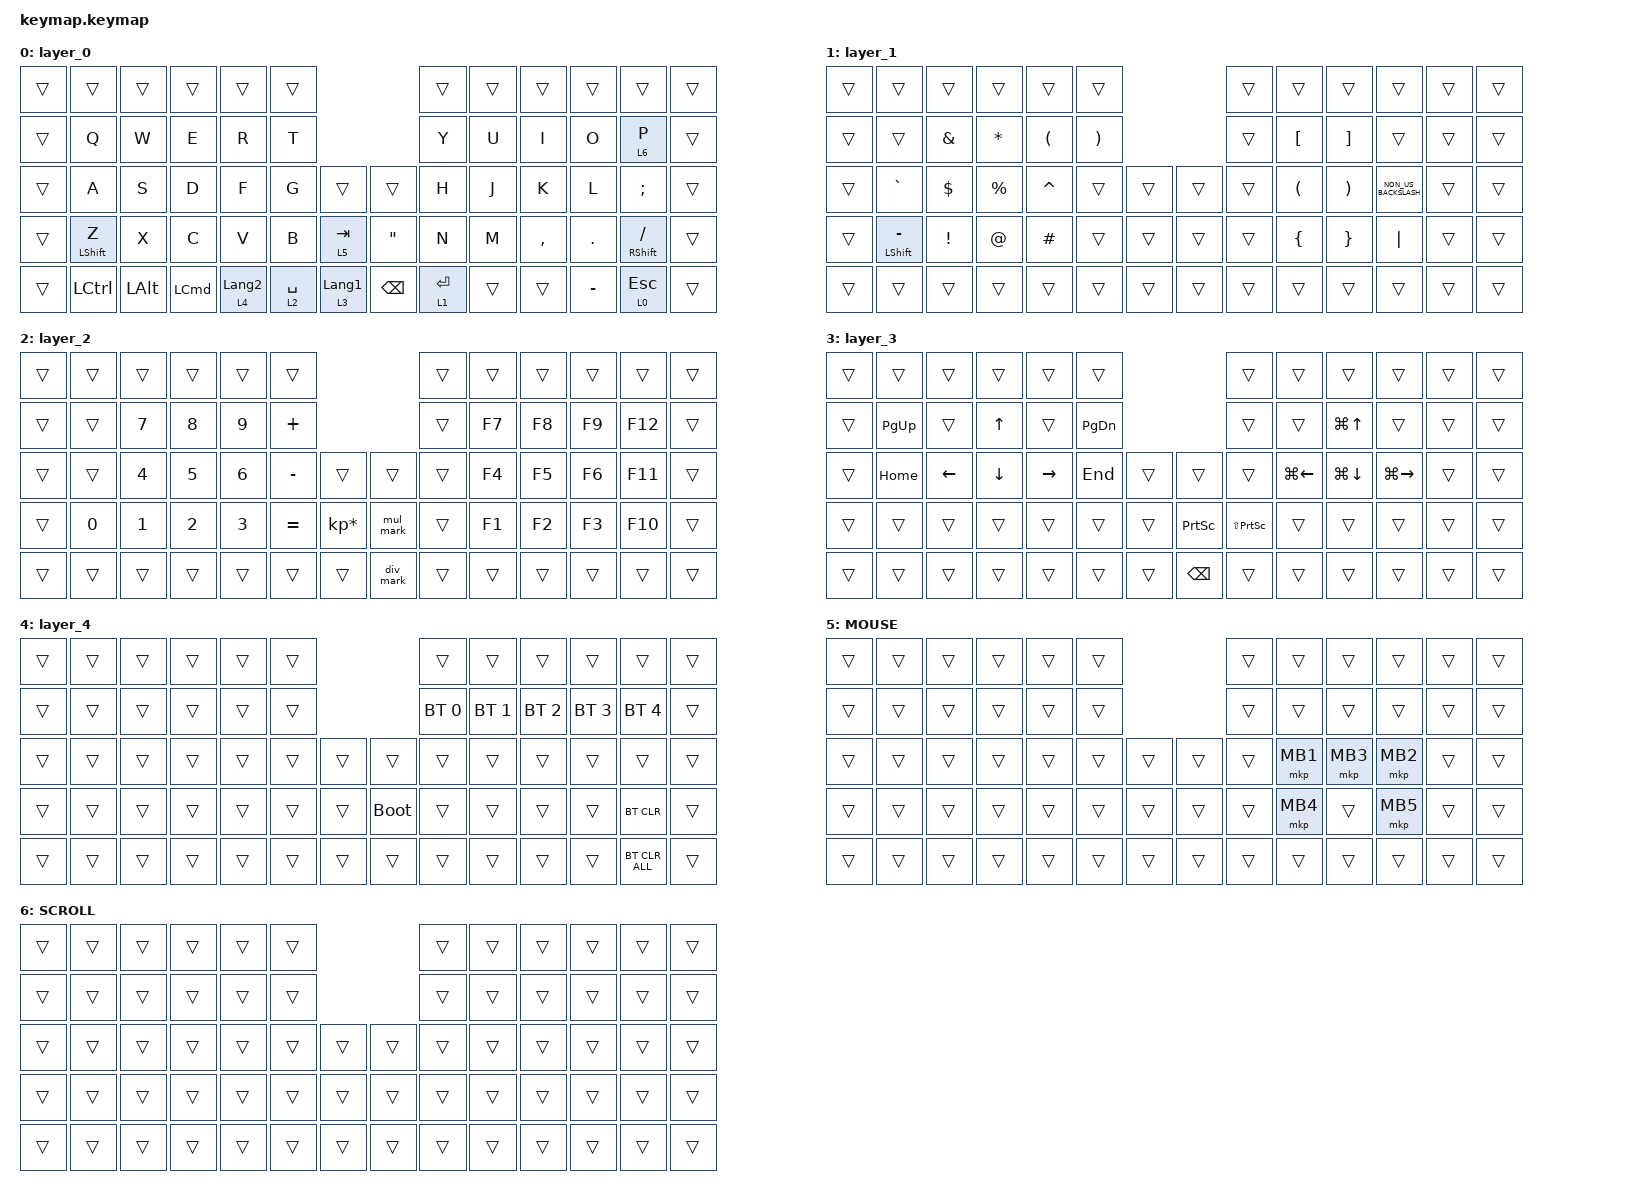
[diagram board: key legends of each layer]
#include <behaviors.dtsi>
#include <dt-bindings/zmk/bt.h>
#include <dt-bindings/zmk/keys.h>
#include <dt-bindings/zmk/pointing.h>

/ {
    combos { compatible = "zmk,combos"; };

    macros {
        mul_mark: new_macro {
            compatible = "zmk,behavior-macro";
            #binding-cells = <0>;
            bindings = <&macro_press>, <&kp X &kp X &kp R>;

            label = "NEW_MACRO";
        };

        div_mark: div_mark {
            compatible = "zmk,behavior-macro";
            #binding-cells = <0>;
            bindings = <&macro_press>, <&kp W &kp W &kp R>;

            label = "DIV_MARK";
        };
    };

    keymap {
        compatible = "zmk,keymap";

        layer_0 {
            bindings = <
&trans  &trans            &trans        &trans            &trans            &trans                                            &trans       &trans  &trans     &trans     &trans                &trans
&trans  &kp Q             &kp W         &kp E             &kp R             &kp T                                             &kp Y        &kp U   &kp I      &kp O      &lt 6 P               &trans
&trans  &kp A             &kp S         &kp D             &kp F             &kp G        &trans            &trans             &kp H        &kp J   &kp K      &kp L      &kp SEMI              &trans
&trans  &mt LEFT_SHIFT Z  &kp X         &kp C             &kp V             &kp B        &lt 5 TAB         &kp DOUBLE_QUOTES  &kp N        &kp M   &kp COMMA  &kp DOT    &mt RIGHT_SHIFT FSLH  &trans
&trans  &kp LEFT_CONTROL  &kp LEFT_ALT  &kp LEFT_COMMAND  &lt 4 LANGUAGE_2  &lt 2 SPACE  &lt 3 LANGUAGE_1  &kp BACKSPACE      &lt 1 ENTER  &trans  &trans     &kp MINUS  &lt 0 ESC             &trans
            >;
        };

        layer_1 {
            bindings = <
&trans  &trans                &trans           &trans        &trans                &trans                                 &trans  &trans                &trans                 &trans                &trans  &trans
&trans  &trans                &kp AMPERSAND    &kp ASTERISK  &kp LEFT_PARENTHESIS  &kp RIGHT_PARENTHESIS                  &trans  &kp LEFT_BRACKET      &kp RIGHT_BRACKET      &trans                &trans  &trans
&trans  &kp GRAVE             &kp DOLLAR       &kp PERCENT   &kp CARET             &trans                 &trans  &trans  &trans  &kp LEFT_PARENTHESIS  &kp RIGHT_PARENTHESIS  &kp NON_US_BACKSLASH  &trans  &trans
&trans  &mt LEFT_SHIFT MINUS  &kp EXCLAMATION  &kp AT_SIGN   &kp HASH              &trans                 &trans  &trans  &trans  &kp LEFT_BRACE        &kp RIGHT_BRACE        &kp PIPE              &trans  &trans
&trans  &trans                &trans           &trans        &trans                &trans                 &trans  &trans  &trans  &trans                &trans                 &trans                &trans  &trans
            >;
        };

        layer_2 {
            bindings = <
&trans  &trans        &trans        &trans        &trans        &trans                                 &trans  &trans  &trans  &trans  &trans   &trans
&trans  &trans        &kp NUMBER_7  &kp NUMBER_8  &kp NUMBER_9  &kp PLUS                               &trans  &kp F7  &kp F8  &kp F9  &kp F12  &trans
&trans  &trans        &kp NUMBER_4  &kp NUMBER_5  &kp NUMBER_6  &kp MINUS  &trans           &trans     &trans  &kp F4  &kp F5  &kp F6  &kp F11  &trans
&trans  &kp NUMBER_0  &kp NUMBER_1  &kp NUMBER_2  &kp NUMBER_3  &kp EQUAL  &kp KP_MULTIPLY  &mul_mark  &trans  &kp F1  &kp F2  &kp F3  &kp F10  &trans
&trans  &trans        &trans        &trans        &trans        &trans     &trans           &div_mark  &trans  &trans  &trans  &trans  &trans   &trans
            >;
        };

        layer_3 {
            bindings = <
&trans  &trans       &trans    &trans        &trans     &trans                                  &trans               &trans        &trans            &trans         &trans  &trans
&trans  &kp PAGE_UP  &trans    &kp UP_ARROW  &trans     &kp PAGE_DOWN                           &trans               &trans        &kp LG(UP_ARROW)  &trans         &trans  &trans
&trans  &kp HOME     &kp LEFT  &kp DOWN      &kp RIGHT  &kp END        &trans  &trans           &trans               &kp LG(LEFT)  &kp LG(DOWN)      &kp LG(RIGHT)  &trans  &trans
&trans  &trans       &trans    &trans        &trans     &trans         &trans  &kp PRINTSCREEN  &kp LS(PRINTSCREEN)  &trans        &trans            &trans         &trans  &trans
&trans  &trans       &trans    &trans        &trans     &trans         &trans  &kp BACKSPACE    &trans               &trans        &trans            &trans         &trans  &trans
            >;
        };

        layer_4 {
            bindings = <
&trans  &trans  &trans  &trans  &trans  &trans                       &trans        &trans        &trans        &trans        &trans          &trans
&trans  &trans  &trans  &trans  &trans  &trans                       &bt BT_SEL 0  &bt BT_SEL 1  &bt BT_SEL 2  &bt BT_SEL 3  &bt BT_SEL 4    &trans
&trans  &trans  &trans  &trans  &trans  &trans  &trans  &trans       &trans        &trans        &trans        &trans        &trans          &trans
&trans  &trans  &trans  &trans  &trans  &trans  &trans  &bootloader  &trans        &trans        &trans        &trans        &bt BT_CLR      &trans
&trans  &trans  &trans  &trans  &trans  &trans  &trans  &trans       &trans        &trans        &trans        &trans        &bt BT_CLR_ALL  &trans
            >;
        };

        MOUSE {
            bindings = <
&trans  &trans  &trans  &trans  &trans  &trans                  &trans  &trans    &trans    &trans    &trans  &trans
&trans  &trans  &trans  &trans  &trans  &trans                  &trans  &trans    &trans    &trans    &trans  &trans
&trans  &trans  &trans  &trans  &trans  &trans  &trans  &trans  &trans  &mkp MB1  &mkp MB3  &mkp MB2  &trans  &trans
&trans  &trans  &trans  &trans  &trans  &trans  &trans  &trans  &trans  &mkp MB4  &trans    &mkp MB5  &trans  &trans
&trans  &trans  &trans  &trans  &trans  &trans  &trans  &trans  &trans  &trans    &trans    &trans    &trans  &trans
            >;
        };

        SCROLL {
            bindings = <
&trans  &trans  &trans  &trans  &trans  &trans                  &trans  &trans  &trans  &trans  &trans  &trans
&trans  &trans  &trans  &trans  &trans  &trans                  &trans  &trans  &trans  &trans  &trans  &trans
&trans  &trans  &trans  &trans  &trans  &trans  &trans  &trans  &trans  &trans  &trans  &trans  &trans  &trans
&trans  &trans  &trans  &trans  &trans  &trans  &trans  &trans  &trans  &trans  &trans  &trans  &trans  &trans
&trans  &trans  &trans  &trans  &trans  &trans  &trans  &trans  &trans  &trans  &trans  &trans  &trans  &trans
            >;
        };
    };
};
